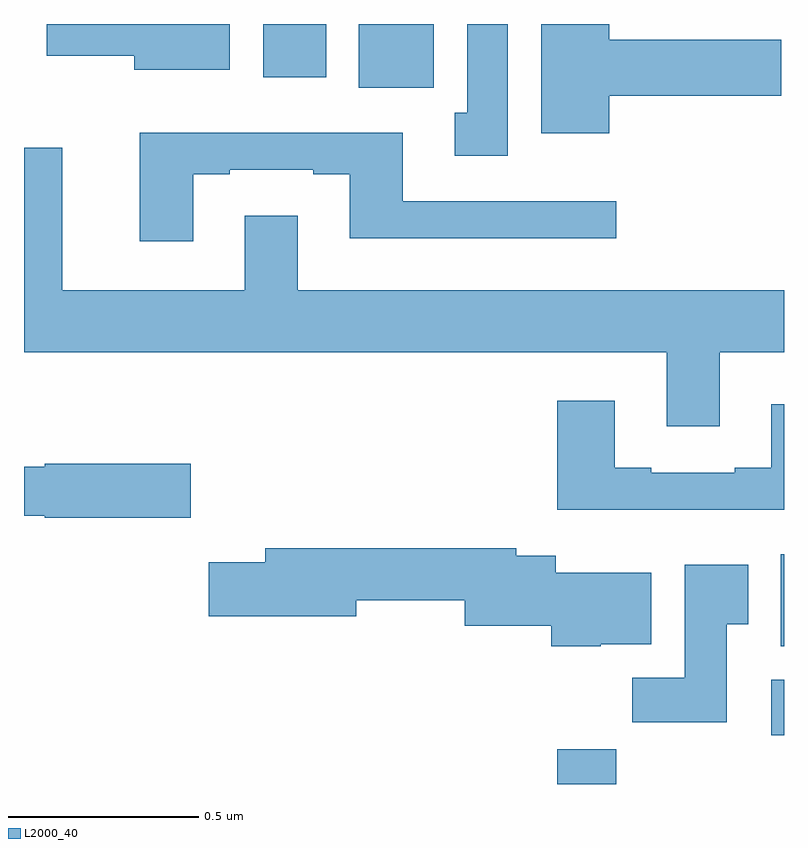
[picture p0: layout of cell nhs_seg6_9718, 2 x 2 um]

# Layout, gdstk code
import gdstk
lib = gdstk.Library(unit=1e-6, precision=1e-09)
def R(c, l, rs):  # rectangles x0, y0, x1, y1
    for r in rs: c.add(gdstk.rectangle(r[:2], r[2:], *l))
def P(c, l, *ps):  # polygons
    for p in ps: c.add(gdstk.Polygon(p, *l))
L2000_40 = (2000, 40)

nhs_seg6_9718 = lib.new_cell('nhs_seg6_9718')
R(nhs_seg6_9718, L2000_40, [(238.403,979.5,238.559,979.592), (238.967,979.628,239,979.774), (238.991,979.862,239,980.104), (237.881,981.332,238.078,981.5), (237.629,981.36,237.796,981.5)])
P(nhs_seg6_9718, L2000_40, [(237.541,981.5),(237.06,981.5),(237.06,981.416),(237.29,981.416),(237.29,981.38),(237.541,981.38)],
  [(238.273,981.5),(238.166,981.5),(238.166,981.266),(238.133,981.266),(238.133,981.153),(238.273,981.153)],
  [(238.54,981.311),(238.993,981.311),(238.993,981.458),(238.54,981.458),(238.54,981.5),(238.361,981.5),(238.361,981.212),(238.54,981.212)],
  [(237.445,981.105),(237.541,981.105),(237.541,981.117),(237.761,981.117),(237.761,981.105),(237.857,981.105),(237.857,980.936),(238.558,980.936),(238.558,981.033),(237.997,981.033),(237.997,981.214),(237.305,981.214),(237.305,980.928),(237.445,980.928)],
  [(238.831,980.636),(239,980.636),(239,980.8),(237.721,980.8),(237.721,980.995),(237.581,980.995),(237.581,980.8),(237.1,980.8),(237.1,981.175),(237,981.175),(237,980.636),(238.691,980.636),(238.691,980.442),(238.831,980.442)],
  [(239,980.5),(238.967,980.5),(238.967,980.332),(238.871,980.332),(238.871,980.319),(238.651,980.319),(238.651,980.332),(238.555,980.332),(238.555,980.509),(238.403,980.509),(238.403,980.222),(239,980.222)],
  [(237.439,980.343),(237.054,980.343),(237.054,980.335),(237,980.335),(237,980.206),(237.054,980.206),(237.054,980.201),(237.439,980.201)],
  [(238.518,979.868),(238.651,979.868),(238.651,980.056),(238.399,980.056),(238.399,980.101),(238.295,980.101),(238.295,980.12),(237.635,980.12),(237.635,980.084),(237.486,980.084),(237.486,979.942),(237.874,979.942),(237.874,979.984),(238.16,979.984),(238.16,979.916),(238.388,979.916),(238.388,979.862),(238.518,979.862)],
  [(238.849,979.921),(238.906,979.921),(238.906,980.077),(238.739,980.077),(238.739,979.78),(238.6,979.78),(238.6,979.662),(238.849,979.662)])

lib.write_gds('nhs_seg6_9718.gds')
